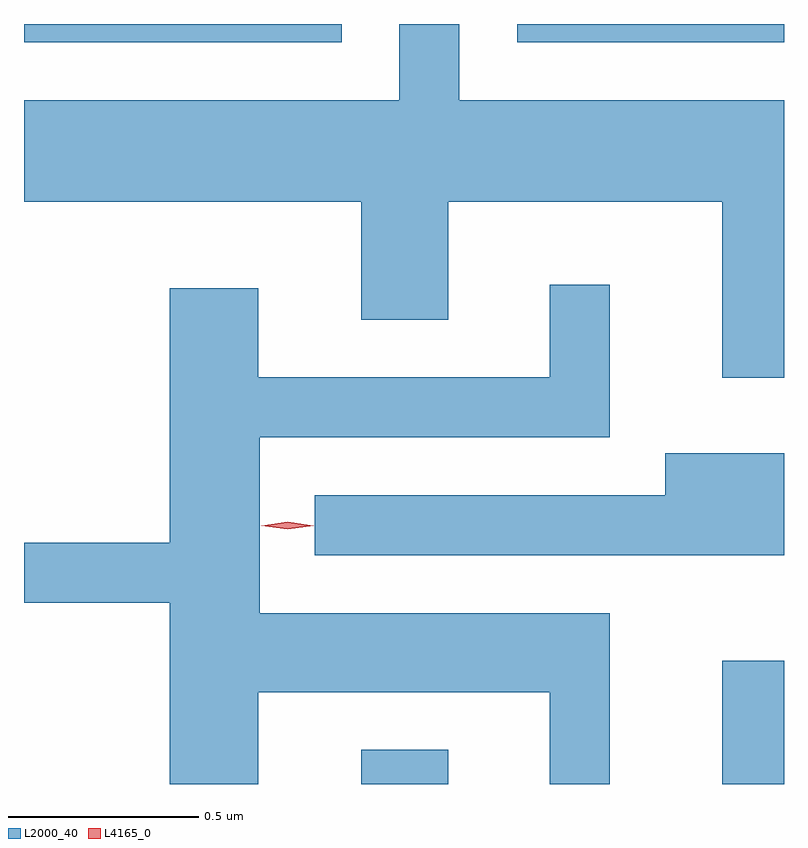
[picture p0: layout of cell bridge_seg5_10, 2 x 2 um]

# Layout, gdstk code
import gdstk
lib = gdstk.Library(unit=1e-6, precision=1e-09)
def R(c, l, rs):  # rectangles x0, y0, x1, y1
    for r in rs: c.add(gdstk.rectangle(r[:2], r[2:], *l))
def P(c, l, *ps):  # polygons
    for p in ps: c.add(gdstk.Polygon(p, *l))
L2000_40 = (2000, 40)
L4165_0 = (4165, 0)

bridge_seg5_10 = lib.new_cell('bridge_seg5_10')
R(bridge_seg5_10, L2000_40, [(1727.621,1426.404,1727.849,1426.494), (1728.571,1426.404,1728.733,1426.728), (1726.733,1428.356,1727.569,1428.404), (1728.031,1428.356,1728.733,1428.404)])
P(bridge_seg5_10, L2000_40, [(1728.733,1428.204),(1727.879,1428.204),(1727.879,1428.404),(1727.721,1428.404),(1727.721,1428.204),(1726.733,1428.204),(1726.733,1427.936),(1727.621,1427.936),(1727.621,1427.626),(1727.849,1427.626),(1727.849,1427.936),(1728.571,1427.936),(1728.571,1427.473),(1728.733,1427.473)],
  [(1727.349,1426.646),(1728.116,1426.646),(1728.116,1426.404),(1728.274,1426.404),(1728.274,1426.854),(1727.354,1426.854),(1727.354,1427.316),(1728.274,1427.316),(1728.274,1427.718),(1728.116,1427.718),(1728.116,1427.474),(1727.349,1427.474),(1727.349,1427.709),(1727.116,1427.709),(1727.116,1427.039),(1726.733,1427.039),(1726.733,1426.881),(1727.116,1426.881),(1727.116,1426.404),(1727.349,1426.404)],
  [(1728.733,1427.274),(1728.421,1427.274),(1728.421,1427.164),(1727.498,1427.164),(1727.498,1427.006),(1728.733,1427.006)])
P(bridge_seg5_10, L4165_0, [(1727.427,1427.074),(1727.357,1427.083),(1727.357,1427.084),(1727.357,1427.084),(1727.427,1427.094),(1727.496,1427.084),(1727.496,1427.084),(1727.496,1427.083)],
  [(1727.427,1427.074),(1727.362,1427.083),(1727.361,1427.084),(1727.362,1427.084),(1727.427,1427.094),(1727.492,1427.084),(1727.493,1427.084),(1727.492,1427.083)])

lib.write_gds('bridge_seg5_10.gds')
